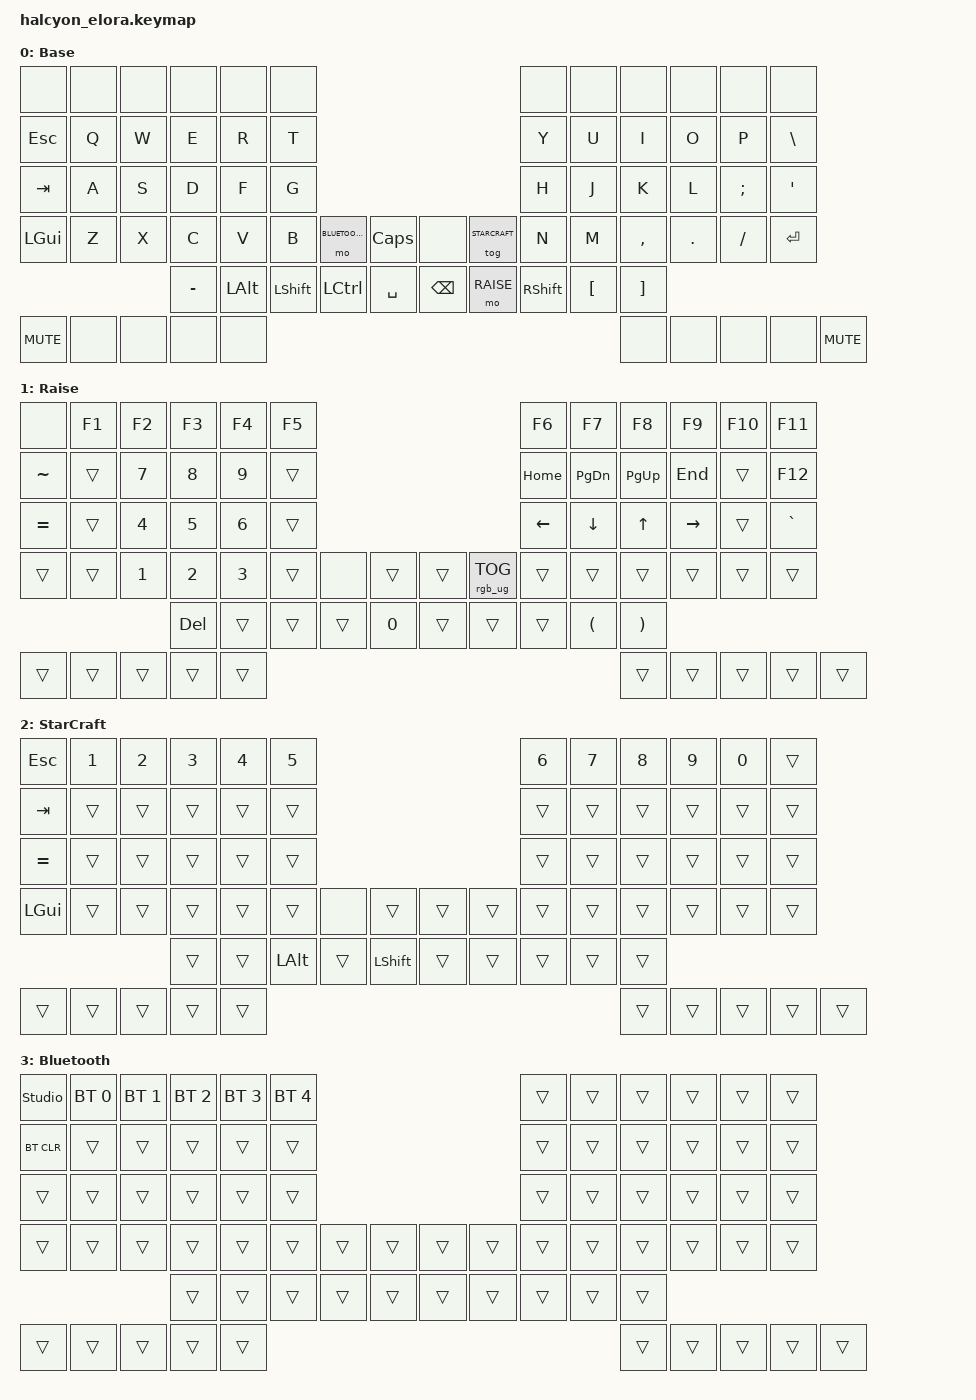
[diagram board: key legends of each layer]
/*
 * Halcyon Elora rev2, wireless, no dongle.
 * Keymap copied from the wired Elora Vial keymap (docs/wired-elora-vial-decoded.json)
 * with the changes listed in docs/superpowers/specs/2026-09-17-elora-wireless-config-design.md.
 *
 * SPDX-License-Identifier: MIT
 */

#include <behaviors.dtsi>
#include <dt-bindings/zmk/bt.h>
#include <dt-bindings/zmk/keys.h>
#include <dt-bindings/zmk/rgb.h>
#include <dt-bindings/zmk/input_transform.h>
#include <input/processors.dtsi>

#define BASE      0
#define RAISE     1
#define STARCRAFT 2
#define BLUETOOTH 3

/* Underglow only: the chain starts with the 6 underglow LEDs, then 31 per-key LEDs. */
&led_strip {
    chain-length = <6>;
};

/*
 * Cirque touchpad: always scroll, both axes, no pointer movement.
 * Traditional direction: finger down scrolls down, finger right scrolls right.
 * The right shield inverts Y for pointer use, so one Y invert is expected here.
 * If an axis is flipped on hardware, change the transform flags:
 *   INPUT_TRANSFORM_Y_INVERT                             vertical only (current)
 *   (INPUT_TRANSFORM_Y_INVERT | INPUT_TRANSFORM_X_INVERT) both axes
 *   remove the zip_scroll_transform entry                 no invert
 * Scroll speed: zip_scroll_scaler multiplies by 1/2. Raise the second number to slow down,
 * lower it to speed up. 1/8 and 1/4 were too slow on hardware.
 */
&trackpad_listener {
    input-processors = <&zip_xy_to_scroll_mapper>,
                       <&zip_scroll_transform INPUT_TRANSFORM_Y_INVERT>,
                       <&zip_scroll_scaler 1 2>;
};

/* Order: left halcyon encoder, right halcyon encoder, left soldered, right soldered. */
#define ENCODERS \
    <&inc_dec_kp C_VOL_UP C_VOL_DN &inc_dec_kp PG_DN PG_UP &inc_dec_kp C_VOL_UP C_VOL_DN &inc_dec_kp PG_DN PG_UP>

/ {
    keymap {
        compatible = "zmk,keymap";

        base_layer {
            display-name = "Base";
// ------------------------------------------------------------------------------------------------------------------
// |      |     |     |     |     |     |                                     |     |     |     |     |     |      |
// | ESC  |  Q  |  W  |  E  |  R  |  T  |                                     |  Y  |  U  |  I  |  O  |  P  |  \   |
// | TAB  |  A  |  S  |  D  |  F  |  G  |                                     |  H  |  J  |  K  |  L  |  ;  |  '   |
// | LGUI |  Z  |  X  |  C  |  V  |  B  | mo BT | CAPS |   |     | tog SC |  N  |  M  |  ,  |  .  |  /  | RET  |
//                    |  -  | LALT| LSHFT| LCTRL| SPC |   | BSPC | mo RAISE | RSHFT |  [  |  ]  |
// | MUTE |     |     |     |     |                                                 |     |     |     |     | MUTE |
            bindings = <
&none    &none &none &none &none &none                                                    &none &none &none  &none   &none    &none
&kp ESC  &kp Q &kp W &kp E &kp R &kp T                                                    &kp Y &kp U &kp I  &kp O   &kp P    &kp BSLH
&kp TAB  &kp A &kp S &kp D &kp F &kp G                                                    &kp H &kp J &kp K  &kp L   &kp SEMI &kp SQT
&kp LGUI &kp Z &kp X &kp C &kp V &kp B  &mo BLUETOOTH &kp CAPS      &none    &tog STARCRAFT &kp N &kp M &kp COMMA &kp DOT &kp FSLH &kp RET
                     &kp MINUS &kp LALT &kp LSHFT &kp LCTRL &kp SPACE  &kp BSPC &mo RAISE &kp RSHFT &kp LBKT &kp RBKT

&kp C_MUTE &none &none &none &none                                                                       &none &none &none &none &kp C_MUTE
            >;
            sensor-bindings = ENCODERS;
        };

        raise_layer {
            display-name = "Raise";
// ------------------------------------------------------------------------------------------------------------------
// |      |  F1 |  F2 |  F3 |  F4 |  F5 |                                     |  F6 |  F7 |  F8 |  F9 | F10 | F11  |
// |  ~   |     |  7  |  8  |  9  |     |                                     | HOME| PGDN| PGUP| END |     | F12  |
// |  =   |     |  4  |  5  |  6  |     |                                     | LEFT| DOWN| UP  | RGHT|     |  `   |
// |      |     |  1  |  2  |  3  |     | none |      |   |      | RGB TOG |     |     |     |     |     |      |
//                    | DEL |     |     |     |  0  |   |      |      |      |  (  |  )  |
// |      |     |     |     |     |                                                 |     |     |     |     |      |
            bindings = <
&none     &kp F1 &kp F2 &kp F3 &kp F4 &kp F5                                              &kp F6   &kp F7    &kp F8    &kp F9    &kp F10 &kp F11
&kp TILDE &trans &kp N7 &kp N8 &kp N9 &trans                                              &kp HOME &kp PG_DN &kp PG_UP &kp END   &trans  &kp F12
&kp EQUAL &trans &kp N4 &kp N5 &kp N6 &trans                                              &kp LEFT &kp DOWN  &kp UP    &kp RIGHT &trans  &kp GRAVE
&trans    &trans &kp N1 &kp N2 &kp N3 &trans  &none  &trans      &trans &rgb_ug RGB_TOG   &trans   &trans    &trans    &trans    &trans  &trans
                        &kp DEL &trans &trans &trans &kp N0      &trans &trans &trans &kp LPAR &kp RPAR

&trans &trans &trans &trans &trans                                                                            &trans &trans &trans &trans &trans
            >;
            sensor-bindings = ENCODERS;
        };

        starcraft_layer {
            display-name = "StarCraft";
// ------------------------------------------------------------------------------------------------------------------
// | ESC  |  1  |  2  |  3  |  4  |  5  |                                     |  6  |  7  |  8  |  9  |  0  |      |
// | TAB  |     |     |     |     |     |                                     |     |     |     |     |     |      |
// |  =   |     |     |     |     |     |                                     |     |     |     |     |     |      |
// | LGUI |     |     |     |     |     | none |      |   |      |      |     |     |     |     |     |      |
//                    |     |     | LALT|     |LSHFT|   |      |      |      |     |     |
// |      |     |     |     |     |                                                 |     |     |     |     |      |
            bindings = <
&kp ESC   &kp N1 &kp N2 &kp N3 &kp N4 &kp N5                                              &kp N6 &kp N7 &kp N8 &kp N9 &kp N0 &trans
&kp TAB   &trans &trans &trans &trans &trans                                              &trans &trans &trans &trans &trans &trans
&kp EQUAL &trans &trans &trans &trans &trans                                              &trans &trans &trans &trans &trans &trans
&kp LGUI  &trans &trans &trans &trans &trans  &none  &trans      &trans &trans            &trans &trans &trans &trans &trans &trans
                        &trans &trans &kp LALT &trans &kp LSHFT  &trans &trans &trans &trans &trans

&trans &trans &trans &trans &trans                                                                            &trans &trans &trans &trans &trans
            >;
            sensor-bindings = ENCODERS;
        };

        bluetooth_layer {
            display-name = "Bluetooth";
// ------------------------------------------------------------------------------------------------------------------
// |STUDIO| BT1 | BT2 | BT3 | BT4 | BT5 |                                     |     |     |     |     |     |      |
// |BT CLR|     |     |     |     |     |                                     |     |     |     |     |     |      |
// |      |     |     |     |     |     |                                     |     |     |     |     |     |      |
// |      |     |     |     |     |     |      |      |   |      |      |     |     |     |     |     |      |
//                    |     |     |     |     |     |   |      |      |      |     |     |
// |      |     |     |     |     |                                                 |     |     |     |     |      |
            bindings = <
&studio_unlock &bt BT_SEL 0 &bt BT_SEL 1 &bt BT_SEL 2 &bt BT_SEL 3 &bt BT_SEL 4          &trans &trans &trans &trans &trans &trans
&bt BT_CLR     &trans       &trans       &trans       &trans       &trans                &trans &trans &trans &trans &trans &trans
&trans &trans &trans &trans &trans &trans                                                 &trans &trans &trans &trans &trans &trans
&trans &trans &trans &trans &trans &trans  &trans &trans          &trans &trans           &trans &trans &trans &trans &trans &trans
                        &trans &trans &trans &trans &trans        &trans &trans &trans &trans &trans

&trans &trans &trans &trans &trans                                                                            &trans &trans &trans &trans &trans
            >;
            sensor-bindings = ENCODERS;
        };
    };
};
